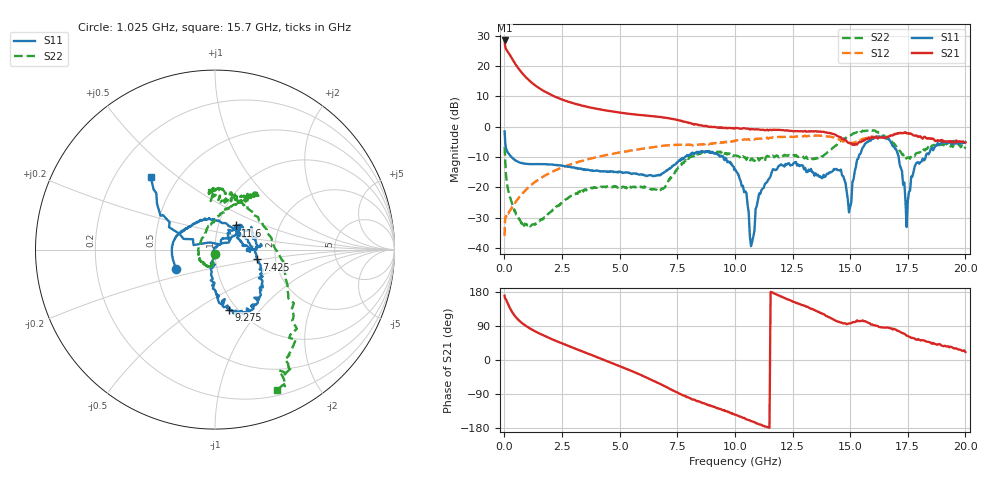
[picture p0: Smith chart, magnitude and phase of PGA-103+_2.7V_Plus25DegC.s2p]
!Mini-Circuits Laboratory
!S-Parameters, Port extension performed
!Model: PGA-103+
!Run / Lot / Date Code: N/A / BP170-001-01-101EV / 1210
!Fixture: TB-313
!Network Analyzer: PNA-X N5242A - 423 4 ports;  Serial number: 71013
!Date: 5/24/2012 at 5:08:53 PM
!S/N: Unit# 1
!Tested with: Vdd=2.7V at 25C
# Hz  S  dB  R  50
!Frequency  S11 dB  S11 Deg  S21 dB  S21 Deg  S12 dB  S12 Deg  S22 dB  S22 Deg
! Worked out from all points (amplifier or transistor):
!   660 points, 10 MHz to 20 GHz, reference 50 ohm
!   highest |S21| = 28.4 dB at 10 MHz (marker M1)
!   |S21| within 3 dB of that: start of sweep to 83.27 MHz
!   unconditionally stable (mu >= 1): 200.1 MHz to 218.8 MHz; 220.5 MHz to 15.03 GHz; 16.85 GHz to end of sweep
!   at 1.275 GHz: K = 1.09, MAG = 14.4 dB, |S12| = -18.6 dB
!   at 6.775 GHz: K = 1.04, MAG = 3.6 dB, |S12| = -6.4 dB
!   at 20 GHz: K = 1.27, MAG = -3.1 dB, |S12| = -5.3 dB
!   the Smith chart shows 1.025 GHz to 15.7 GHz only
!   S11 on the Smith chart (normalised r, x): 1.025 GHz: 0.63, -0.15; 7.425 GHz: 1.60, -0.19; 9.275 GHz: 0.92, -0.69; 11.6 GHz: 1.21, +0.34; 15.7 GHz: 0.36, +0.40
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1e7  -1.58 -19.6  28.41 169.6  -36.02 72.3  -6.71 -25.9
5e7  -6.21 -36.5  26.00 161.3  -29.60 29.3  -13.63 -56.4
8e7  -7.40 -39.4  25.45 158.4  -29.57 24.3  -16.70 -58.8
2.3e8  -9.32 -67.1  23.71 138.4  -27.81 32.9  -22.77 -63.1
4.1e8  -10.74 -97.4  21.44 119.9  -25.66 42.1  -27.14 -71.2
5.3e8  -11.37 -112.5  20.04 110.9  -24.38 45.9  -29.10 -70.3
6.6e8  -11.81 -126.2  18.67 102.9  -23.13 48.1  -30.55 -75.4
1.025e9  -12.34 -153.1  15.58 86.4  -20.17 50.4  -32.40 -84.2
1.9e9  -12.47 173.8  10.94 59.3  -15.57 43.1  -28.82 -104.8
3.35e9  -14.06 143.5  6.92 23.2  -11.38 20.6  -21.88 -102.1
6.675e9  -16.03 45.9  3.23 -60.7  -6.52 -51.0  -20.80 163.2
7.425e9  -12.40 -13.2  2.35 -83.8  -6.03 -72.4  -14.61 85.3
9.275e9  -9.30 -77.0  -0.35 -127.4  -5.48 -116.4  -8.61 53.3
1.005e10  -14.64 -90.9  -0.41 -144.9  -4.46 -135.4  -9.53 64.1
1.075e10  -37.94 123.0  -0.88 -161.8  -4.22 -153.1  -10.49 76.8
1.16e10  -15.03 49.3  -1.18 178.7  -3.75 -173.6  -9.86 93.6
1.335e10  -15.01 7.0  -1.59 135.1  -3.04 141.6  -10.56 44.0
1.5e10  -26.57 122.7  -5.53 96.6  -5.43 107.3  -2.87 -54.8
1.57e10  -5.38 131.2  -4.17 100.9  -3.74 102.5  -1.34 -66.3
1.67e10  -4.37 90.0  -3.23 84.9  -3.20 85.2  -4.15 -71.6
1.745e10  -33.12 105.4  -2.21 64.3  -2.24 64.5  -10.30 -19.1
2e10  -5.05 160.3  -5.30 21.2  -5.28 21.1  -6.72 24.9
